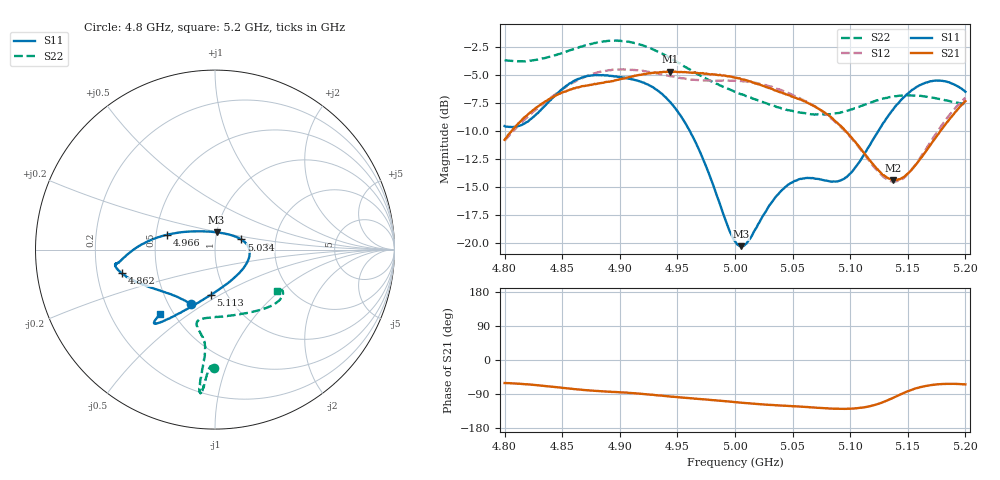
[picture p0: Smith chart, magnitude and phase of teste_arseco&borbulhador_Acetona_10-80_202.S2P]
! Network Analyzer HP8722D
! Hewlett-Packard
! Data name: Linha & Wilkinson
! Saver's name: Rodrigo Anjos
! Comments: Teste da utilização de aquisição
! continua pelo VNA HP8722D
! Time and date: 17/4/2025 16:02
!  Frequency  S11  S21  S12  S22
# HZ  S  MA R 50
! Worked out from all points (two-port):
!   401 points, 4.8 GHz to 5.2 GHz, reference 50 ohm
!   highest |S21| = -4.68 dB at 4.944 GHz (marker M1); lowest = -14.4 dB at 5.137 GHz (marker M2)
!   |S21| within 3 dB of the highest: 4.831 GHz to 5.067 GHz (236.6 MHz wide, 4.78 % of centre); 5.196608 GHz to end of sweep
!   lowest |S11| = -20.3 dB at 5.005 GHz (marker M3), VSWR 1.21, Z = 50 + j9.71 ohm
!   |S11| at or under -10 dB: 4.961 GHz to 5.124 GHz (163.5 MHz wide, 3.24 % of centre)
!   |S22| runs from -8.5 to -1.9 dB; largest |S21 - S12| = 0.88
!   S11 on the Smith chart (normalised r, x): 4.8 GHz: 0.65, -0.45; 4.862 GHz: 0.31, -0.11; 4.966 GHz: 0.57, +0.10; 5.034 GHz: 1.33, +0.15; 5.113 GHz: 0.84, -0.46; 5.2 GHz: 0.42, -0.39
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4.8e9  0.333 -113.3  0.2892 -60.7  0.2864 -175.1  0.657 -90.4
4.819e9  0.3466 -133.2  0.3704 -64.2  0.362 -173.9  0.6515 -92.0
4.862e9  0.5358 -165.7  0.4947 -77.1  0.5294 -177.2  0.7435 -94.5
4.867e9  0.548 -167.6  0.502 -78.6  0.5443 -178.1  0.7564 -94.6
4.898e9  0.5531 -172.0  0.536 -84.9  0.5963 175.5  0.8039 -95.8
4.934e9  0.4755 -178.1  0.5781 -93.7  0.5715 171.6  0.7125 -96.3
4.944e9  0.4255 177.4  0.5836 -96.4  0.5561 171.7  0.6697 -96.0
4.966e9  0.2803 163.0  0.576 -101.9  0.5357 173.5  0.575 -95.6
5e9  0.1016 101.7  0.5495 -111.1  0.5318 175.9  0.4742 -99.7
5.005e9  0.09667 84.6  0.5408 -112.5  0.5296 176.0  0.4624 -100.8
5.012e9  0.103 61.3  0.5282 -114.2  0.5244 175.6  0.4503 -102.2
5.034e9  0.1576 21.0  0.4821 -119.2  0.4948 174.5  0.4101 -103.8
5.05e9  0.1867 4.6  0.4514 -122.0  0.4585 173.8  0.3893 -99.4
5.067e9  0.1951 -13.5  0.4137 -125.0  0.4152 173.3  0.3763 -90.1
5.093e9  0.1918 -57.8  0.3285 -128.8  0.3251 174.2  0.3843 -69.9
5.113e9  0.2534 -95.1  0.2484 -124.5  0.2461 -179.7  0.416 -54.5
5.134e9  0.3754 -116.3  0.1936 -104.2  0.1898 -156.4  0.4488 -42.8
5.137e9  0.3935 -118.1  0.1909 -100.2  0.1882 -151.6  0.4513 -41.6
5.15e9  0.4652 -124.1  0.2042 -82.5  0.2031 -131.8  0.457 -36.7
5.168e9  0.5248 -128.4  0.2669 -67.4  0.2737 -113.5  0.448 -32.4
5.184e9  0.5257 -130.1  0.3463 -63.0  0.3616 -107.5  0.4335 -31.3
5.2e9  0.4743 -130.5  0.4307 -64.4  0.4462 -106.8  0.4157 -33.7
